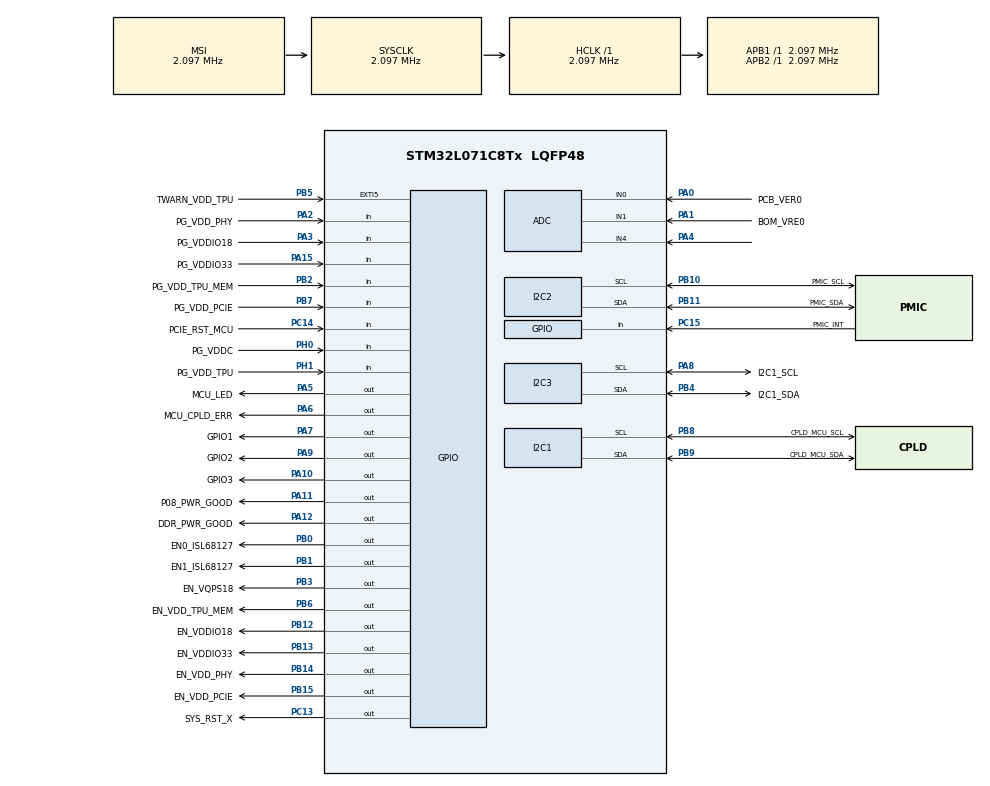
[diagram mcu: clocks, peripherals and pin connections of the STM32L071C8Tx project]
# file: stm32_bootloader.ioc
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ADC.DiscontinuousConvMode=ENABLE
ADC.EnableAnalogWatchDog=false
I2C1.DualAddressMode=I2C_DUALADDRESS_ENABLE
I2C1.NoStretchMode=I2C_NOSTRETCH_DISABLE
I2C1.OwnAddress=0x38
I2C1.OwnAddress2=0x38
I2C1.OwnAddress2Masks=I2C_OA2_MASK04
I2C3.DualAddressMode=I2C_DUALADDRESS_DISABLE
I2C3.OwnAddress=0x17
LPTIM1.ClockPrescaler=LPTIM_PRESCALER_DIV128
Mcu.Family=STM32L0
Mcu.Name=STM32L071C8Tx
Mcu.Package=LQFP48
NVIC.EXTI4_15_IRQn=true\:0\:0\:false\:false\:true\:true\:true
NVIC.I2C1_IRQn=true\:0\:0\:false\:false\:true\:true\:true
NVIC.I2C3_IRQn=true\:0\:0\:false\:false\:true\:true\:true
PA0.GPIO_Label=PCB_VER0
PA0.Mode=IN0
PA0.Signal=ADC_IN0
PA1.GPIO_Label=BOM_VRE0
PA1.Mode=IN1
PA1.Signal=ADC_IN1
PA10.GPIO_Label=GPIO3
PA10.GPIO_PuPd=GPIO_PULLDOWN
PA10.Signal=GPIO_Output
PA11.GPIO_Label=P08_PWR_GOOD
PA11.GPIO_PuPd=GPIO_PULLDOWN
PA11.Signal=GPIO_Output
PA12.GPIO_Label=DDR_PWR_GOOD
PA12.GPIO_PuPd=GPIO_PULLDOWN
PA12.Signal=GPIO_Output
PA13.Mode=Serial_Wire
PA13.Signal=SYS_SWDIO
PA14.Mode=Serial_Wire
PA14.Signal=SYS_SWCLK
PA15.GPIO_Label=PG_VDDIO33
PA15.GPIO_PuPd=GPIO_NOPULL
PA15.Signal=GPIO_Input
PA2.GPIO_Label=PG_VDD_PHY
PA2.Signal=GPIO_Input
PA3.GPIO_Label=PG_VDDIO18
PA3.Signal=GPIO_Input
PA4.Mode=IN4
PA4.Signal=ADC_IN4
PA5.GPIO_Label=MCU_LED
PA5.Signal=GPIO_Output
PA6.GPIO_Label=MCU_CPLD_ERR
PA6.GPIO_ModeDefaultOutputPP=GPIO_MODE_OUTPUT_OD
PA6.Signal=GPIO_Output
PA7.GPIO_Label=GPIO1
PA7.Signal=GPIO_Output
PA8.GPIO_Label=I2C1_SCL
PA8.Mode=I2C
PA8.Signal=I2C3_SCL
PA9.GPIO_Label=GPIO2
PA9.GPIO_PuPd=GPIO_PULLDOWN
PA9.Signal=GPIO_Output
PB0.GPIO_Label=EN0_ISL68127
PB0.GPIO_PuPd=GPIO_PULLDOWN
PB0.Signal=GPIO_Output
PB1.GPIO_Label=EN1_ISL68127
PB1.GPIO_PuPd=GPIO_PULLDOWN
PB1.Signal=GPIO_Output
PB10.GPIO_Label=PMIC_SCL
PB10.Mode=I2C
PB10.Signal=I2C2_SCL
PB11.GPIO_Label=PMIC_SDA
PB11.Mode=I2C
PB11.Signal=I2C2_SDA
PB12.GPIO_Label=EN_VDDIO18
PB12.GPIO_PuPd=GPIO_PULLDOWN
PB12.Signal=GPIO_Output
PB13.GPIO_Label=EN_VDDIO33
PB13.GPIO_PuPd=GPIO_PULLDOWN
PB13.Signal=GPIO_Output
PB14.GPIO_Label=EN_VDD_PHY
PB14.GPIO_PuPd=GPIO_PULLDOWN
PB14.Signal=GPIO_Output
PB15.GPIO_Label=EN_VDD_PCIE
PB15.GPIO_PuPd=GPIO_PULLDOWN
PB15.Signal=GPIO_Output
PB2.GPIO_Label=PG_VDD_TPU_MEM
PB2.Signal=GPIO_Input
PB3.GPIO_Label=EN_VQPS18
PB3.GPIO_PuPd=GPIO_PULLDOWN
PB3.Signal=GPIO_Output
PB4.GPIO_Label=I2C1_SDA
PB4.Mode=I2C
PB4.Signal=I2C3_SDA
PB5.GPIO_Label=TWARN_VDD_TPU
PB5.GPIO_PuPd=GPIO_PULLUP
PB5.Signal=GPXTI5
PB6.GPIO_Label=EN_VDD_TPU_MEM
PB6.GPIO_ModeDefaultOutputPP=GPIO_MODE_OUTPUT_PP
PB6.GPIO_PuPd=GPIO_PULLUP
PB6.PinState=GPIO_PIN_SET
PB6.Signal=GPIO_Output
PB7.GPIO_Label=PG_VDD_PCIE
PB7.Signal=GPIO_Input
PB8.GPIO_Label=CPLD_MCU_SCL
PB8.GPIO_PuPdOD=GPIO_PULLUP
PB8.Mode=I2C
PB8.Signal=I2C1_SCL
PB9.GPIO_Label=CPLD_MCU_SDA
PB9.GPIO_PuPdOD=GPIO_PULLUP
PB9.Mode=I2C
PB9.Signal=I2C1_SDA
PC13.GPIO_Label=SYS_RST_X
PC13.GPIO_PuPd=GPIO_PULLDOWN
PC13.Signal=GPIO_Output
PC14-OSC32_IN.GPIO_Label=PCIE_RST_MCU
PC14-OSC32_IN.GPIO_PuPd=GPIO_PULLUP
PC14-OSC32_IN.Signal=GPIO_Input
PC15-OSC32_OUT.GPIO_Label=PMIC_INT
PC15-OSC32_OUT.Signal=GPIO_Input
PH0-OSC_IN.GPIO_Label=PG_VDDC
PH0-OSC_IN.Signal=GPIO_Input
PH1-OSC_OUT.GPIO_Label=PG_VDD_TPU
PH1-OSC_OUT.Signal=GPIO_Input
ProjectManager.HeapSize=0x200
ProjectManager.StackSize=0x400
ProjectManager.TargetToolchain=TrueSTUDIO
RCC.AHBFreq_Value=2097000
RCC.APB1Freq_Value=2097000
RCC.APB1TimFreq_Value=2097000
RCC.APB2Freq_Value=2097000
RCC.APB2TimFreq_Value=2097000
RCC.HSE_VALUE=8000000
RCC.HSI16_VALUE=16000000
RCC.HSI_VALUE=16000000
RCC.LSE_VALUE=32768
RCC.LptimClockSelection=RCC_LPTIM1CLKSOURCE_LSI
RCC.MSI_VALUE=2097000
RCC.SYSCLKFreq_VALUE=2097000
RCC.VCOOutputFreq_Value=48000000
VP_LPTIM1_VS_LPTIM_counterModeInternalClock.Mode=Counts__internal_clock_event_00
VP_RTC_VS_RTC_Activate.Mode=RTC_Enabled
board=custom

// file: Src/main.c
/* USER CODE BEGIN Header */
/**
  ******************************************************************************
  * @file           : main.c
  * @brief          : Main program body
  ******************************************************************************
  * @attention
  *
  * <h2><center>&copy; Copyright (c) 2019 STMicroelectronics.
  * All rights reserved.</center></h2>
  *
  * This software component is licensed by ST under BSD 3-Clause license,
  * the "License"; You may not use this file except in compliance with the
  * License. You may obtain a copy of the License at:
  *                        opensource.org/licenses/BSD-3-Clause
  *
  ******************************************************************************
  */
/* USER CODE END Header */

#include "main.h"
#include "adc.h"
#include "i2c.h"
#include "lptim.h"
#include "rtc.h"
#include "gpio.h"

/* USER CODE BEGIN Includes */
#include "eeprom.h"
//#include "bootloader.h"
#include "flash_if.h"
#include "i2c_slave.h"
/* USER CODE END Includes */

void SystemClock_Config(void);

/* USER CODE BEGIN 0 */
void HAL_Delay(uint32_t Delay)
{
  uint32_t tickstart = HAL_GetTick();
  uint32_t wait = Delay;

  while((HAL_GetTick() - tickstart) < wait)
  {
  }
}

#define APPLICATION_ADDRESS 0x8008000

#define EEPROM_BASE 0x08080c00

/* Private variables ---------------------------------------------------------*/
typedef  void (*pFunction)(void);

pFunction JumpToApplication;
uint32_t JumpAddress;

#define PMIC_ADDR 0x3c

#define IO_MODECTRL			0x24
#define BUCK1_VOUTFBDIV		0x3B
#define BUCK1_DVS0CFG1		0x48
#define BUCK1_DVS0CFG0		0x49
#define BUCK1_DVSSEL		0x53
#define BUCK1_EN_DLY		0x56
#define BUCK2_VOUTFBDIV		0x58
#define BUCK2_DVS0CFG1		0x62
#define BUCK2_DVS0CFG0		0x63
#define BUCK3_VOUTFBDIV		0x72
#define BUCK3_DVS0CFG1		0x7C
#define BUCK3_DVS0CFG0		0x7D
#define BUCK4_VOUTFBDIV		0x8c
#define BUCK4_DVS0CFG1		0x96
#define BUCK4_DVS0CFG0 		0x97

uint8_t val;
uint8_t origin_val;
uint8_t chk_val;

void led_filcker(void)
{
	HAL_GPIO_WritePin(GPIOA, MCU_LED_Pin, GPIO_PIN_SET);
	HAL_Delay(500);
	HAL_GPIO_WritePin(GPIOA, MCU_LED_Pin, GPIO_PIN_RESET);
	HAL_Delay(500);
}

void led_on(void)
{
	HAL_GPIO_WritePin(GPIOA, MCU_LED_Pin, GPIO_PIN_SET);
}

void clean_pmic(void)
{
	val = 0;
	HAL_I2C_Mem_Write(&hi2c2,PMIC_ADDR, IO_MODECTRL,1, &val, 1, 1000);// 1.2v
	HAL_I2C_Mem_Write(&hi2c2,PMIC_ADDR, BUCK1_VOUTFBDIV,1, &val, 1, 1000);// 1.2v
	HAL_I2C_Mem_Write(&hi2c2,PMIC_ADDR, BUCK2_VOUTFBDIV,1, &val, 1, 1000);// 1.2v
	HAL_I2C_Mem_Write(&hi2c2,PMIC_ADDR, BUCK3_VOUTFBDIV,1, &val, 1, 1000);// 1.2v
	HAL_I2C_Mem_Write(&hi2c2,PMIC_ADDR, BUCK1_DVS0CFG1,1, &val, 2, 1000);// LDO1V_IN
	HAL_I2C_Mem_Write(&hi2c2,PMIC_ADDR, BUCK2_DVS0CFG1,1, &val, 2, 1000);//DDR_VDDQ 1.1v
	HAL_I2C_Mem_Write(&hi2c2,PMIC_ADDR, BUCK3_DVS0CFG1,1, &val, 2, 1000);//DDR*_DDR_VDDQLP 1.1v
}

void PowerON(void)
{
	clean_pmic();
	HAL_Delay(100);

	val = 0xE5;
	HAL_I2C_Mem_Write(&hi2c2,PMIC_ADDR, IO_MODECTRL,1, &val, 1, 1000);// 1.2v
	val = 0;
	HAL_I2C_Mem_Write(&hi2c2,PMIC_ADDR, BUCK1_VOUTFBDIV,1, &val, 1, 1000);// 1.2v
	HAL_I2C_Mem_Write(&hi2c2,PMIC_ADDR, BUCK2_VOUTFBDIV,1, &val, 1, 1000);// 1.2v
	HAL_I2C_Mem_Write(&hi2c2,PMIC_ADDR, BUCK3_VOUTFBDIV,1, &val, 1, 1000);// 1.2v
	val = 0xD0;
	HAL_I2C_Mem_Write(&hi2c2,PMIC_ADDR, BUCK1_DVS0CFG1,1, &val, 2, 1000);// LDO1V_IN
	HAL_Delay(30);
	HAL_GPIO_WritePin(GPIOB, EN_VDDIO18_Pin, GPIO_PIN_SET);
	HAL_Delay(1);
	HAL_GPIO_WritePin(GPIOB, EN1_ISL68127_Pin, GPIO_PIN_SET);
	HAL_Delay(1);
	HAL_GPIO_WritePin(GPIOB, EN_VDDIO33_Pin, GPIO_PIN_SET);
	HAL_Delay(1);
	HAL_GPIO_WritePin(GPIOB, EN_VDD_PHY_Pin, GPIO_PIN_SET);//EN_PHY
	HAL_Delay(1);
	HAL_GPIO_WritePin(GPIOA, P08_PWR_GOOD_Pin, GPIO_PIN_SET);
	HAL_Delay(1);
	HAL_GPIO_WritePin(GPIOB, EN_VDD_PCIE_Pin, GPIO_PIN_SET);
	HAL_Delay(1);
	HAL_GPIO_WritePin(GPIOA, GPIO2_Pin, GPIO_PIN_SET);
	HAL_Delay(1);
	HAL_GPIO_WritePin(GPIOB, EN0_ISL68127_Pin, GPIO_PIN_SET);
	HAL_Delay(1);
	HAL_GPIO_WritePin(GPIOA, GPIO3_Pin, GPIO_PIN_SET);
	HAL_Delay(1);
	val = 0xE5;
	HAL_I2C_Mem_Write(&hi2c2,PMIC_ADDR, BUCK2_DVS0CFG1,1, &val, 2, 1000);//DDR_VDDQ 1.1v
	HAL_Delay(1);
#if 0//DDR4
	val = 0xE5;//1.8ms
	HAL_I2C_Mem_Write(&hi2c2,PMIC_ADDR, BUCK3_DVS0CFG1,1, &val, 2, 1000);//DDR*_DDR_VDDQLP 1.1v
#else
	val = 0x7D;//1.8ms
	HAL_I2C_Mem_Write(&hi2c2,PMIC_ADDR, BUCK3_DVS0CFG1,1, &val, 2, 1000);//DDR*_DDR_VDDQLP 0.6v
#endif
	HAL_Delay(1);//5ms
	HAL_GPIO_WritePin(GPIOB, EN_VDD_TPU_MEM_Pin, GPIO_PIN_RESET);
//	HAL_GPIO_WritePin(GPIOB, EN_VDD_TPU_MEM_Pin, GPIO_PIN_SET);
	HAL_Delay(1);
	HAL_GPIO_WritePin(GPIOA, GPIO1_Pin, GPIO_PIN_SET);
	HAL_Delay(1);
	HAL_GPIO_WritePin(EN_VQPS18_GPIO_Port, EN_VQPS18_Pin, GPIO_PIN_SET);
	HAL_Delay(30);
	HAL_GPIO_WritePin(SYS_RST_X_GPIO_Port, SYS_RST_X_Pin, GPIO_PIN_SET);
	HAL_Delay(30);
	HAL_GPIO_WritePin(GPIOA, DDR_PWR_GOOD_Pin, GPIO_PIN_SET);

	reg[22] = 1;
	led_on();
}

void PowerDOWN(void)
{
	clean_pmic();
	HAL_Delay(100);

	HAL_GPIO_WritePin(GPIOA, DDR_PWR_GOOD_Pin, GPIO_PIN_RESET);
	HAL_Delay(1);
	HAL_GPIO_WritePin(SYS_RST_X_GPIO_Port, SYS_RST_X_Pin, GPIO_PIN_RESET);
	HAL_Delay(1);
	HAL_GPIO_WritePin(EN_VQPS18_GPIO_Port, EN_VQPS18_Pin, GPIO_PIN_RESET);
	HAL_Delay(1);
	HAL_GPIO_WritePin(GPIOA, GPIO1_Pin, GPIO_PIN_RESET);
	HAL_Delay(1);
	HAL_GPIO_WritePin(GPIOB, EN_VDD_TPU_MEM_Pin, GPIO_PIN_SET);
	HAL_Delay(1);
	HAL_GPIO_WritePin(GPIOA, GPIO3_Pin, GPIO_PIN_RESET);
	HAL_Delay(1);
	HAL_GPIO_WritePin(GPIOB, EN1_ISL68127_Pin, GPIO_PIN_RESET);
	HAL_Delay(1);
	HAL_GPIO_WritePin(GPIOB, EN_VDD_PCIE_Pin, GPIO_PIN_RESET);
	HAL_Delay(1);
	HAL_GPIO_WritePin(GPIOA, P08_PWR_GOOD_Pin, GPIO_PIN_RESET);
	HAL_Delay(1);
	HAL_GPIO_WritePin(GPIOB, EN_VDD_PHY_Pin, GPIO_PIN_RESET);//EN_PHY
	HAL_Delay(1);
	HAL_GPIO_WritePin(GPIOB, EN_VDDIO33_Pin, GPIO_PIN_RESET);
	HAL_Delay(1);
	HAL_GPIO_WritePin(GPIOB, EN0_ISL68127_Pin, GPIO_PIN_RESET);
	HAL_Delay(1);
	HAL_GPIO_WritePin(GPIOB, EN_VDDIO18_Pin, GPIO_PIN_RESET);
	HAL_Delay(1);
	HAL_I2C_Mem_Write(&hi2c2,PMIC_ADDR, BUCK1_DVS0CFG1,1, &val, 1, 1000);// LDO1V_IN
	HAL_Delay(1);

	led_on();
}

void SET_HW_Ver(void)
{
	  uint8_t i;
	  uint8_t PCB_Ver0 = 0;
	  uint8_t BOM_Ver0 = 0;
	  uint16_t ADC_Buf[2];

	  for (i = 0; i < 2; i++) {
		  HAL_ADC_Start(&hadc);
		  HAL_ADC_PollForConversion(&hadc, 0XFFFF);

		  if(HAL_IS_BIT_SET(HAL_ADC_GetState(&hadc), HAL_ADC_STATE_REG_EOC)) {
			  ADC_Buf[i] = HAL_ADC_GetValue(&hadc);
		  }
	  }

	  //0,0.18,0.46,0.71,1,1.28
	  //0,368, 942,1454,2048,2621
	  if (ADC_Buf[0] < 200) {
		  PCB_Ver0 = 0;
	  } else if ((ADC_Buf[0] > 250) && (ADC_Buf[0] < 600)) {
		  PCB_Ver0 = 1;
	  } else if ((ADC_Buf[0] > 700) && (ADC_Buf[0] < 1150)) {
		  PCB_Ver0 = 2;
	  } else if ((ADC_Buf[0] > 1200) && (ADC_Buf[0] < 1700)) {
		  PCB_Ver0 = 3;
	  } else if ((ADC_Buf[0] > 1750) && (ADC_Buf[0] < 2300)) {
		  PCB_Ver0 = 4;
	  } else if ((ADC_Buf[0] > 2350) && (ADC_Buf[0] < 2900)) {
		  PCB_Ver0 = 5;
	  }

	  if (ADC_Buf[1] < 200) {
		  BOM_Ver0 = 0;
	  } else if ((ADC_Buf[1] > 250) && (ADC_Buf[1] < 600)) {
		  BOM_Ver0 = 1;
	  } else if ((ADC_Buf[1] > 700) && (ADC_Buf[1] < 1150)) {
		  BOM_Ver0 = 2;
	  } else if ((ADC_Buf[1] > 1200) && (ADC_Buf[1] < 1700)) {
		  BOM_Ver0 = 3;
	  } else if ((ADC_Buf[1] > 1750) && (ADC_Buf[1] < 2300)) {
		  BOM_Ver0 = 4;
	  } else if ((ADC_Buf[1] > 2350) && (ADC_Buf[1] < 2900)) {
		  BOM_Ver0 = 5;
	  }

	  reg[2] = (PCB_Ver0 << 4) | BOM_Ver0;

	  HAL_ADC_Stop(&hadc);
}

volatile uint8_t reg[MAX_REG_SIZE] = { 0x01,3,0,0,0,0,0,0, \
									0,0,0,0,0,0,0,0, \
									0,0,0,0,0,0,0,0, \
									0,0,0,0,0,0,0,0};

extern uint32_t ramsource;
extern uint32_t packet_length;

/* Initialize flashdestination variable */
extern uint32_t flashdestination;

extern uint8_t flash_write;

uint32_t eeprom_addr = 0xBF0;

/* USER CODE END 0 */

int main(void)
{

  /* MCU Configuration--------------------------------------------------------*/

  /* Reset of all peripherals, Initializes the Flash interface and the Systick. */
  HAL_Init();

  /* Configure the system clock */
  SystemClock_Config();

  /* Initialize all configured peripherals */
  MX_GPIO_Init();
  MX_ADC_Init();
  MX_I2C2_Init();
  MX_I2C1_Init();
  MX_I2C3_Init();
  MX_LPTIM1_Init();
  MX_RTC_Init();
  /* USER CODE BEGIN 2 */

  I2C_SlaveInit(&hi2c3, (uint8_t *)reg, MAX_REG_SIZE);
  I2C_SlaveInit(&hi2c1, (uint8_t *)reg, MAX_REG_SIZE);

  SET_HW_Ver();

  uint8_t Buffer;
//  EEPROM_WriteBytes(addr, &Buffer, 1);
  EEPROM_ReadBytes(eeprom_addr, &Buffer, 1);

//#if debug
  if (Buffer == 8) {
	  PowerON();
//	  while(1);

	  while(1) {
		  if (reg[7] == 1){
			  break;
		  }
	  }
  }

  /* Test if user code is programmed starting from address "APPLICATION_ADDRESS" */
  if (((*(__IO uint32_t*)APPLICATION_ADDRESS) & 0x2FFE0000 ) == 0x20000000) {
	//clear update flag when update complete finished.
	Buffer = 0;
	EEPROM_WriteBytes(eeprom_addr, &Buffer, 1);
    /* Jump to user application */
    JumpAddress = *(__IO uint32_t*) (APPLICATION_ADDRESS + 4);
    JumpToApplication = (pFunction) JumpAddress;
    /* Initialize user application's Stack Pointer */
    __set_MSP(*(__IO uint32_t*) APPLICATION_ADDRESS);
    JumpToApplication();
  }

  /* USER CODE END 2 */

  /* Infinite loop */
  while (1)
  {

  }
}

void SystemClock_Config(void)
{
  RCC_OscInitTypeDef RCC_OscInitStruct = {0};
  RCC_ClkInitTypeDef RCC_ClkInitStruct = {0};
  RCC_PeriphCLKInitTypeDef PeriphClkInit = {0};

  /** Configure the main internal regulator output voltage
  */
  __HAL_PWR_VOLTAGESCALING_CONFIG(PWR_REGULATOR_VOLTAGE_SCALE1);
  /** Initializes the CPU, AHB and APB busses clocks
  */
  RCC_OscInitStruct.OscillatorType = RCC_OSCILLATORTYPE_LSI|RCC_OSCILLATORTYPE_MSI;
  RCC_OscInitStruct.LSIState = RCC_LSI_ON;
  RCC_OscInitStruct.MSIState = RCC_MSI_ON;
  RCC_OscInitStruct.MSICalibrationValue = 0;
  RCC_OscInitStruct.MSIClockRange = RCC_MSIRANGE_5;
  RCC_OscInitStruct.PLL.PLLState = RCC_PLL_NONE;
  if (HAL_RCC_OscConfig(&RCC_OscInitStruct) != HAL_OK)
  {
    Error_Handler();
  }
  /** Initializes the CPU, AHB and APB busses clocks
  */
  RCC_ClkInitStruct.ClockType = RCC_CLOCKTYPE_HCLK|RCC_CLOCKTYPE_SYSCLK
                              |RCC_CLOCKTYPE_PCLK1|RCC_CLOCKTYPE_PCLK2;
  RCC_ClkInitStruct.SYSCLKSource = RCC_SYSCLKSOURCE_MSI;
  RCC_ClkInitStruct.AHBCLKDivider = RCC_SYSCLK_DIV1;
  RCC_ClkInitStruct.APB1CLKDivider = RCC_HCLK_DIV1;
  RCC_ClkInitStruct.APB2CLKDivider = RCC_HCLK_DIV1;

  if (HAL_RCC_ClockConfig(&RCC_ClkInitStruct, FLASH_LATENCY_0) != HAL_OK)
  {
    Error_Handler();
  }
  PeriphClkInit.PeriphClockSelection = RCC_PERIPHCLK_I2C1|RCC_PERIPHCLK_I2C3
                              |RCC_PERIPHCLK_RTC|RCC_PERIPHCLK_LPTIM1;
  PeriphClkInit.I2c1ClockSelection = RCC_I2C1CLKSOURCE_PCLK1;
  PeriphClkInit.I2c3ClockSelection = RCC_I2C3CLKSOURCE_PCLK1;
  PeriphClkInit.RTCClockSelection = RCC_RTCCLKSOURCE_LSI;
  PeriphClkInit.LptimClockSelection = RCC_LPTIM1CLKSOURCE_LSI;

  if (HAL_RCCEx_PeriphCLKConfig(&PeriphClkInit) != HAL_OK)
  {
    Error_Handler();
  }
}

void Error_Handler(void)
{
}

/************************ (C) COPYRIGHT STMicroelectronics *****END OF FILE****/
